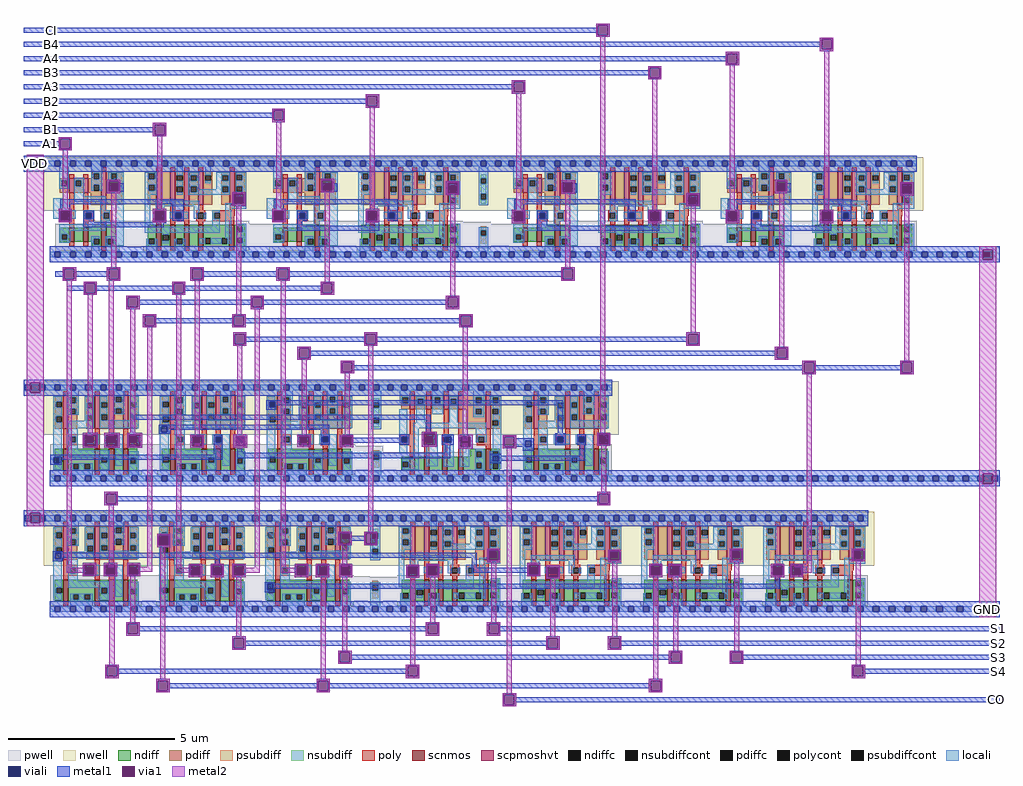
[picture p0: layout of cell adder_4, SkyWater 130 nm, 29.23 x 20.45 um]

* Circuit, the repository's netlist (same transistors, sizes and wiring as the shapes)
* NGSPICE file created from adder_4.ext - technology: sky130A

.subckt sky130_fd_sc_hd__a21o_1 A1 A2 B1 VGND VNB VPB VPWR X
X0 a_81_21# B1 VGND VNB sky130_fd_pr__nfet_01v8 ad=0.0894 pd=0.925 as=0.229 ps=1.57 w=0.65 l=0.15
**devattr s=10270,288 d=3575,185
X1 a_299_297# B1 a_81_21# VPB sky130_fd_pr__pfet_01v8_hvt ad=0.18 pd=1.69 as=0.26 ps=2.52 w=1 l=0.15
**devattr s=10400,504 d=5500,255
X2 VPWR a_81_21# X VPB sky130_fd_pr__pfet_01v8_hvt ad=0.18 pd=1.69 as=0.26 ps=2.52 w=1 l=0.15
**devattr s=10400,504 d=10400,504
X3 VPWR A1 a_299_297# VPB sky130_fd_pr__pfet_01v8_hvt ad=0.18 pd=1.69 as=0.18 ps=1.69 w=1 l=0.15
**devattr s=5500,255 d=5600,256
X4 VGND a_81_21# X VNB sky130_fd_pr__nfet_01v8 ad=0.229 pd=1.57 as=0.169 ps=1.82 w=0.65 l=0.15
**devattr s=6760,364 d=10270,288
X5 VGND A2 a_384_47# VNB sky130_fd_pr__nfet_01v8 ad=0.229 pd=1.57 as=0.091 ps=0.93 w=0.65 l=0.15
**devattr s=3640,186 d=6890,366
X6 a_299_297# A2 VPWR VPB sky130_fd_pr__pfet_01v8_hvt ad=0.18 pd=1.69 as=0.18 ps=1.69 w=1 l=0.15
**devattr s=5600,256 d=10600,506
X7 a_384_47# A1 a_81_21# VNB sky130_fd_pr__nfet_01v8 ad=0.091 pd=0.93 as=0.0894 ps=0.925 w=0.65 l=0.15
**devattr s=3575,185 d=3640,186
.ends

.subckt sky130_fd_sc_hd__and4_1 A B C D VGND VNB VPB VPWR X
X0 a_27_47# C VPWR VPB sky130_fd_pr__pfet_01v8_hvt ad=0.0662 pd=0.735 as=0.139 ps=0.987 w=0.42 l=0.15
**devattr s=3108,158 d=2352,140
X1 a_197_47# B a_109_47# VNB sky130_fd_pr__nfet_01v8 ad=0.0798 pd=0.8 as=0.0609 ps=0.71 w=0.42 l=0.15
**devattr s=2436,142 d=3192,160
X2 X a_27_47# VPWR VPB sky130_fd_pr__pfet_01v8_hvt ad=0.26 pd=2.52 as=0.332 ps=2.35 w=1 l=0.15
**devattr s=12498,336 d=10400,504
X3 a_303_47# C a_197_47# VNB sky130_fd_pr__nfet_01v8 ad=0.0693 pd=0.75 as=0.0798 ps=0.8 w=0.42 l=0.15
**devattr s=3192,160 d=2772,150
X4 a_27_47# A VPWR VPB sky130_fd_pr__pfet_01v8_hvt ad=0.0662 pd=0.735 as=0.139 ps=0.987 w=0.42 l=0.15
**devattr s=4368,272 d=2940,154
X5 VPWR D a_27_47# VPB sky130_fd_pr__pfet_01v8_hvt ad=0.139 pd=0.987 as=0.0662 ps=0.735 w=0.42 l=0.15
**devattr s=2352,140 d=12498,336
X6 VGND D a_303_47# VNB sky130_fd_pr__nfet_01v8 ad=0.154 pd=1.04 as=0.0693 ps=0.75 w=0.42 l=0.15
**devattr s=2772,150 d=7851,266
X7 VPWR B a_27_47# VPB sky130_fd_pr__pfet_01v8_hvt ad=0.139 pd=0.987 as=0.0662 ps=0.735 w=0.42 l=0.15
**devattr s=2940,154 d=3108,158
X8 X a_27_47# VGND VNB sky130_fd_pr__nfet_01v8 ad=0.169 pd=1.82 as=0.238 ps=1.62 w=0.65 l=0.15
**devattr s=7851,266 d=6760,364
X9 a_109_47# A a_27_47# VNB sky130_fd_pr__nfet_01v8 ad=0.0609 pd=0.71 as=0.109 ps=1.36 w=0.42 l=0.15
**devattr s=4368,272 d=2436,142
.ends

.subckt adder_2 CI P1 G1 P2 G2 P3 G3 P4 G4 CO VPB VNB
Xsky130_fd_sc_hd__a21o_1_0 G1 P2 G2 VNB VNB VPB VPB sky130_fd_sc_hd__a21o_1_0/X sky130_fd_sc_hd__a21o_1
Xsky130_fd_sc_hd__a21o_1_1 sky130_fd_sc_hd__a21o_1_0/X P3 G3 VNB VNB VPB VPB sky130_fd_sc_hd__a21o_1_1/X
+ sky130_fd_sc_hd__a21o_1
Xsky130_fd_sc_hd__a21o_1_2 sky130_fd_sc_hd__a21o_1_1/X P4 G4 VNB VNB VPB VPB sky130_fd_sc_hd__a21o_1_2/X
+ sky130_fd_sc_hd__a21o_1
Xsky130_fd_sc_hd__a21o_1_3 sky130_fd_sc_hd__and4_1_0/X CI sky130_fd_sc_hd__a21o_1_2/X
+ VNB VNB VPB VPB CO sky130_fd_sc_hd__a21o_1
Xsky130_fd_sc_hd__and4_1_0 P4 P2 P3 P1 VNB VNB VPB VPB sky130_fd_sc_hd__and4_1_0/X
+ sky130_fd_sc_hd__and4_1
.ends

.subckt sky130_fd_sc_hd__xor2_1 A B VGND VNB VPB VPWR X
X0 X a_35_297# a_285_297# VPB sky130_fd_pr__pfet_01v8_hvt ad=0.3 pd=2.6 as=0.177 ps=1.69 w=1 l=0.15
**devattr s=10400,504 d=12000,520
X1 X B a_285_47# VNB sky130_fd_pr__nfet_01v8 ad=0.25 pd=1.42 as=0.0878 ps=0.92 w=0.65 l=0.15
**devattr s=3510,184 d=10010,284
X2 a_35_297# B VGND VNB sky130_fd_pr__nfet_01v8 ad=0.0878 pd=0.92 as=0.138 ps=1.4 w=0.65 l=0.15
**devattr s=6760,364 d=3510,184
X3 a_117_297# B a_35_297# VPB sky130_fd_pr__pfet_01v8_hvt ad=0.135 pd=1.27 as=0.26 ps=2.52 w=1 l=0.15
**devattr s=10400,504 d=5400,254
X4 VPWR B a_285_297# VPB sky130_fd_pr__pfet_01v8_hvt ad=0.177 pd=1.69 as=0.177 ps=1.69 w=1 l=0.15
**devattr s=5400,254 d=10400,504
X5 VGND A a_35_297# VNB sky130_fd_pr__nfet_01v8 ad=0.138 pd=1.4 as=0.0878 ps=0.92 w=0.65 l=0.15
**devattr s=3510,184 d=3510,184
X6 VGND a_35_297# X VNB sky130_fd_pr__nfet_01v8 ad=0.138 pd=1.4 as=0.25 ps=1.42 w=0.65 l=0.15
**devattr s=10010,284 d=8320,388
X7 a_285_297# A VPWR VPB sky130_fd_pr__pfet_01v8_hvt ad=0.177 pd=1.69 as=0.177 ps=1.69 w=1 l=0.15
**devattr s=5400,254 d=5400,254
X8 VPWR A a_117_297# VPB sky130_fd_pr__pfet_01v8_hvt ad=0.177 pd=1.69 as=0.135 ps=1.27 w=1 l=0.15
**devattr s=5400,254 d=5400,254
X9 a_285_47# A VGND VNB sky130_fd_pr__nfet_01v8 ad=0.0878 pd=0.92 as=0.138 ps=1.4 w=0.65 l=0.15
**devattr s=3510,184 d=3510,184
.ends

.subckt adder_3 CI P1 G1 P2 G2 P3 G3 P4 S1 S2 S3 S4 VPB SUB
Xsky130_fd_sc_hd__xor2_1_3 P4 sky130_fd_sc_hd__xor2_1_3/B SUB SUB VPB VPB S4 sky130_fd_sc_hd__xor2_1
Xsky130_fd_sc_hd__a21o_1_0 CI P1 G1 SUB SUB VPB VPB sky130_fd_sc_hd__xor2_1_1/B sky130_fd_sc_hd__a21o_1
Xsky130_fd_sc_hd__a21o_1_1 sky130_fd_sc_hd__xor2_1_1/B P2 G2 SUB SUB VPB VPB sky130_fd_sc_hd__xor2_1_2/B
+ sky130_fd_sc_hd__a21o_1
Xsky130_fd_sc_hd__a21o_1_2 sky130_fd_sc_hd__xor2_1_2/B P3 G3 SUB SUB VPB VPB sky130_fd_sc_hd__xor2_1_3/B
+ sky130_fd_sc_hd__a21o_1
Xsky130_fd_sc_hd__xor2_1_0 P1 CI SUB SUB VPB VPB S1 sky130_fd_sc_hd__xor2_1
Xsky130_fd_sc_hd__xor2_1_1 P2 sky130_fd_sc_hd__xor2_1_1/B SUB SUB VPB VPB S2 sky130_fd_sc_hd__xor2_1
Xsky130_fd_sc_hd__xor2_1_2 P3 sky130_fd_sc_hd__xor2_1_2/B SUB SUB VPB VPB S3 sky130_fd_sc_hd__xor2_1
.ends

.subckt sky130_fd_sc_hd__and2_1 A B VGND VNB VPB VPWR X
X0 VPWR B a_59_75# VPB sky130_fd_pr__pfet_01v8_hvt ad=0.103 pd=0.954 as=0.0567 ps=0.69 w=0.42 l=0.15
**devattr s=2268,138 d=6662,278
X1 X a_59_75# VPWR VPB sky130_fd_pr__pfet_01v8_hvt ad=0.475 pd=2.95 as=0.245 ps=2.27 w=1 l=0.15
**devattr s=6662,278 d=19000,590
X2 VGND B a_145_75# VNB sky130_fd_pr__nfet_01v8 ad=0.0878 pd=0.816 as=0.0567 ps=0.69 w=0.42 l=0.15
**devattr s=2268,138 d=4472,208
X3 a_59_75# A VPWR VPB sky130_fd_pr__pfet_01v8_hvt ad=0.0567 pd=0.69 as=0.103 ps=0.954 w=0.42 l=0.15
**devattr s=4704,280 d=2268,138
X4 X a_59_75# VGND VNB sky130_fd_pr__nfet_01v8 ad=0.182 pd=1.86 as=0.136 ps=1.26 w=0.65 l=0.15
**devattr s=4472,208 d=7280,372
X5 a_145_75# A a_59_75# VNB sky130_fd_pr__nfet_01v8 ad=0.0567 pd=0.69 as=0.118 ps=1.4 w=0.42 l=0.15
**devattr s=4704,280 d=2268,138
.ends

.subckt adder_1 A1 B1 A2 B2 A3 B3 A4 B4 G1 P1 G2 P2 G3 P3 G4 P4 VDD SUB
Xsky130_fd_sc_hd__xor2_1_3 A4 B4 SUB SUB VDD VDD P4 sky130_fd_sc_hd__xor2_1
Xsky130_fd_sc_hd__and2_1_0 A1 B1 SUB SUB VDD VDD G1 sky130_fd_sc_hd__and2_1
Xsky130_fd_sc_hd__and2_1_1 A2 B2 SUB SUB VDD VDD G2 sky130_fd_sc_hd__and2_1
Xsky130_fd_sc_hd__and2_1_2 A3 B3 SUB SUB VDD VDD G3 sky130_fd_sc_hd__and2_1
Xsky130_fd_sc_hd__and2_1_3 A4 B4 SUB SUB VDD VDD G4 sky130_fd_sc_hd__and2_1
Xsky130_fd_sc_hd__xor2_1_0 A1 B1 SUB SUB VDD VDD P1 sky130_fd_sc_hd__xor2_1
Xsky130_fd_sc_hd__xor2_1_1 A2 B2 SUB SUB VDD VDD P2 sky130_fd_sc_hd__xor2_1
Xsky130_fd_sc_hd__xor2_1_2 A3 B3 SUB SUB VDD VDD P3 sky130_fd_sc_hd__xor2_1
.ends

Xadder_2_0 CI adder_3_0/P1 adder_3_0/G1 adder_3_0/P2 adder_3_0/G2 adder_3_0/P3 adder_3_0/G3
+ adder_3_0/P4 adder_2_0/G4 CO VDD GND adder_2
Xadder_3_0 CI adder_3_0/P1 adder_3_0/G1 adder_3_0/P2 adder_3_0/G2 adder_3_0/P3 adder_3_0/G3
+ adder_3_0/P4 S1 S2 S3 S4 VDD GND adder_3
Xadder_1_0 A1 B1 A2 B2 A3 B3 A4 B4 adder_3_0/G1 adder_3_0/P1 adder_3_0/G2 adder_3_0/P2
+ adder_3_0/G3 adder_3_0/P3 adder_2_0/G4 adder_3_0/P4 VDD GND adder_1
.end

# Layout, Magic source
magic
tech sky130A
magscale 1 2
<< locali >>
rect -140 599 -130 633
rect -95 599 -41 633
rect -5 599 21 633
rect 5202 55 5240 89
rect 5275 55 5330 89
rect 5365 55 5420 89
rect 5455 55 5510 89
rect 5545 55 5610 89
rect 5645 55 5685 89
rect -140 -742 -130 -708
rect -95 -742 -45 -708
rect -10 -742 22 -708
rect 3383 -1286 3415 -1252
rect 3450 -1286 3505 -1252
rect 3540 -1286 3595 -1252
rect 3630 -1286 3685 -1252
rect 3720 -1286 3775 -1252
rect 3810 -1286 3865 -1252
rect 3900 -1286 3955 -1252
rect 3990 -1286 4045 -1252
rect 4080 -1286 4135 -1252
rect 4170 -1286 4225 -1252
rect 4260 -1286 4315 -1252
rect 4350 -1286 4405 -1252
rect 4440 -1286 4495 -1252
rect 4530 -1286 4585 -1252
rect 4620 -1286 4675 -1252
rect 4710 -1286 4765 -1252
rect 4800 -1286 4855 -1252
rect 4890 -1286 4945 -1252
rect 4980 -1286 5035 -1252
rect 5070 -1286 5125 -1252
rect 5160 -1286 5215 -1252
rect 5250 -1286 5305 -1252
rect 5340 -1286 5395 -1252
rect 5430 -1286 5485 -1252
rect 5520 -1286 5575 -1252
rect 5610 -1286 5660 -1252
rect -140 -1525 -130 -1491
rect -95 -1525 -45 -1491
rect -10 -1525 22 -1491
rect 4908 -2069 4947 -2035
rect 4985 -2069 5042 -2035
rect 5080 -2069 5137 -2035
rect 5175 -2069 5232 -2035
rect 5270 -2069 5327 -2035
rect 5365 -2069 5450 -2035
rect 5488 -2069 5575 -2035
rect 5610 -2069 5660 -2035
<< viali >>
rect -130 599 -95 633
rect -41 599 -5 633
rect 5240 55 5275 89
rect 5330 55 5365 89
rect 5420 55 5455 89
rect 5510 55 5545 89
rect 5610 55 5645 89
rect -130 -742 -95 -708
rect -45 -742 -10 -708
rect 3415 -1286 3450 -1252
rect 3505 -1286 3540 -1252
rect 3595 -1286 3630 -1252
rect 3685 -1286 3720 -1252
rect 3775 -1286 3810 -1252
rect 3865 -1286 3900 -1252
rect 3955 -1286 3990 -1252
rect 4045 -1286 4080 -1252
rect 4135 -1286 4170 -1252
rect 4225 -1286 4260 -1252
rect 4315 -1286 4350 -1252
rect 4405 -1286 4440 -1252
rect 4495 -1286 4530 -1252
rect 4585 -1286 4620 -1252
rect 4675 -1286 4710 -1252
rect 4765 -1286 4800 -1252
rect 4855 -1286 4890 -1252
rect 4945 -1286 4980 -1252
rect 5035 -1286 5070 -1252
rect 5125 -1286 5160 -1252
rect 5215 -1286 5250 -1252
rect 5305 -1286 5340 -1252
rect 5395 -1286 5430 -1252
rect 5485 -1286 5520 -1252
rect 5575 -1286 5610 -1252
rect 5660 -1286 5695 -1252
rect -130 -1525 -95 -1491
rect -45 -1525 -10 -1491
rect 4947 -2069 4985 -2035
rect 5042 -2069 5080 -2035
rect 5137 -2069 5175 -2035
rect 5232 -2069 5270 -2035
rect 5327 -2069 5365 -2035
rect 5450 -2069 5488 -2035
rect 5575 -2069 5610 -2035
rect 5660 -2069 5695 -2035
<< metal1 >>
rect 3290 1445 3370 1455
rect 3290 1430 3300 1445
rect -140 1400 3300 1430
rect 3290 1385 3300 1400
rect 3360 1385 3370 1445
rect 3290 1375 3370 1385
rect 4630 1360 4710 1370
rect 4630 1345 4640 1360
rect -140 1315 4640 1345
rect 4630 1300 4640 1315
rect 4700 1300 4710 1360
rect 4630 1290 4710 1300
rect 4065 1275 4145 1285
rect 4065 1260 4075 1275
rect -140 1230 4075 1260
rect 4065 1215 4075 1230
rect 4135 1215 4145 1275
rect 4065 1205 4145 1215
rect 3600 1190 3680 1200
rect 3600 1175 3610 1190
rect -140 1145 3610 1175
rect 3600 1130 3610 1145
rect 3670 1130 3680 1190
rect 3600 1120 3680 1130
rect 2785 1105 2865 1115
rect 2785 1090 2795 1105
rect -140 1060 2795 1090
rect 2785 1045 2795 1060
rect 2855 1045 2865 1105
rect 2785 1035 2865 1045
rect 1910 1020 1990 1030
rect 1910 1005 1920 1020
rect -140 975 1920 1005
rect 1910 960 1920 975
rect 1980 960 1990 1020
rect 1910 950 1990 960
rect 1350 935 1425 945
rect 1350 920 1360 935
rect -140 890 1360 920
rect 1350 875 1360 890
rect 1415 875 1425 935
rect 1350 865 1425 875
rect 635 850 715 860
rect 635 835 645 850
rect -140 805 645 835
rect 635 790 645 805
rect 705 790 715 850
rect 635 780 715 790
rect 70 765 150 775
rect 70 750 80 765
rect -140 720 80 750
rect 70 705 80 720
rect 140 705 150 765
rect 70 695 150 705
rect -140 650 23 664
rect -140 633 -100 650
rect -40 633 23 650
rect -140 599 -130 633
rect -5 599 23 633
rect -140 590 -100 599
rect -40 590 23 599
rect -140 568 23 590
rect 360 510 440 520
rect 360 450 370 510
rect 430 450 440 510
rect 360 440 440 450
rect 1640 515 1720 525
rect 1640 455 1650 515
rect 1710 455 1720 515
rect 1640 445 1720 455
rect 2390 500 2470 510
rect 1110 435 1190 445
rect 1110 375 1120 435
rect 1180 375 1190 435
rect 2390 440 2400 500
rect 2460 440 2470 500
rect 2390 430 2470 440
rect 3080 505 3160 515
rect 3080 445 3090 505
rect 3150 445 3160 505
rect 3080 435 3160 445
rect 4360 510 4435 520
rect 4360 450 4370 510
rect 4425 450 4435 510
rect 4360 440 4435 450
rect 5110 495 5190 505
rect 3830 430 3910 440
rect 1110 365 1190 375
rect 3830 370 3840 430
rect 3900 370 3910 430
rect 5110 435 5120 495
rect 5180 435 5190 495
rect 5110 425 5190 435
rect 3830 360 3910 370
rect 70 335 150 345
rect 70 275 80 335
rect 140 275 150 335
rect 70 265 150 275
rect 635 335 715 345
rect 635 275 645 335
rect 705 275 715 335
rect 635 260 715 275
rect 1350 335 1430 345
rect 1350 275 1360 335
rect 1420 275 1430 335
rect 1350 265 1430 275
rect 1910 335 1990 345
rect 1910 275 1920 335
rect 1980 275 1990 335
rect 1910 265 1990 275
rect 2785 330 2865 340
rect 2785 270 2795 330
rect 2855 270 2865 330
rect 1910 230 1920 265
rect 2785 260 2865 270
rect 3600 330 3680 340
rect 3600 270 3610 330
rect 3670 270 3680 330
rect 3600 260 3680 270
rect 4065 330 4145 340
rect 4065 270 4075 330
rect 4135 270 4145 330
rect 4065 260 4145 270
rect 4630 330 4710 340
rect 4630 270 4640 330
rect 4700 270 4710 330
rect 4630 260 4710 270
rect 3600 225 3615 260
rect 4630 225 4645 260
rect 5205 100 5705 120
rect 5205 89 5605 100
rect 5205 55 5240 89
rect 5275 55 5330 89
rect 5365 55 5420 89
rect 5455 55 5510 89
rect 5545 55 5605 89
rect 5205 40 5605 55
rect 5665 40 5705 100
rect 5205 25 5705 40
rect 95 -15 175 -5
rect 95 -30 105 -15
rect 50 -60 105 -30
rect 95 -75 105 -60
rect 165 -30 175 -15
rect 360 -15 440 -5
rect 360 -30 370 -15
rect 165 -60 370 -30
rect 165 -75 175 -60
rect 95 -85 175 -75
rect 360 -75 370 -60
rect 430 -75 440 -15
rect 360 -85 440 -75
rect 860 -15 940 -5
rect 860 -75 870 -15
rect 930 -30 940 -15
rect 1375 -15 1455 -5
rect 1375 -30 1385 -15
rect 930 -60 1385 -30
rect 930 -75 940 -60
rect 860 -85 940 -75
rect 1375 -75 1385 -60
rect 1445 -30 1455 -15
rect 3080 -15 3160 -5
rect 3080 -30 3090 -15
rect 1445 -60 3090 -30
rect 1445 -75 1455 -60
rect 1375 -85 1455 -75
rect 3080 -75 3090 -60
rect 3150 -75 3160 -15
rect 3080 -85 3160 -75
rect 220 -100 300 -90
rect 220 -115 230 -100
rect 120 -145 230 -115
rect 220 -160 230 -145
rect 290 -115 300 -100
rect 750 -100 830 -90
rect 750 -115 760 -100
rect 290 -145 760 -115
rect 290 -160 300 -145
rect 220 -170 300 -160
rect 750 -160 760 -145
rect 820 -115 830 -100
rect 1640 -100 1720 -90
rect 1640 -115 1650 -100
rect 820 -145 1650 -115
rect 820 -160 830 -145
rect 750 -170 830 -160
rect 1640 -160 1650 -145
rect 1710 -160 1720 -100
rect 1640 -170 1720 -160
rect 475 -185 555 -175
rect 475 -245 485 -185
rect 545 -200 555 -185
rect 1220 -185 1300 -175
rect 1220 -200 1230 -185
rect 545 -230 1230 -200
rect 545 -245 555 -230
rect 475 -255 555 -245
rect 1220 -245 1230 -230
rect 1290 -200 1300 -185
rect 2390 -185 2470 -175
rect 2390 -200 2400 -185
rect 1290 -230 2400 -200
rect 1290 -245 1300 -230
rect 1220 -255 1300 -245
rect 2390 -245 2400 -230
rect 2460 -245 2470 -185
rect 2390 -255 2470 -245
rect 575 -295 655 -285
rect 575 -355 585 -295
rect 645 -310 655 -295
rect 1110 -295 1190 -285
rect 1110 -310 1120 -295
rect 645 -340 1120 -310
rect 645 -355 655 -340
rect 575 -365 655 -355
rect 1110 -355 1120 -340
rect 1180 -310 1190 -295
rect 2470 -295 2550 -285
rect 2470 -310 2480 -295
rect 1180 -340 2480 -310
rect 1180 -355 1190 -340
rect 1110 -365 1190 -355
rect 2470 -355 2480 -340
rect 2540 -355 2550 -295
rect 2470 -365 2550 -355
rect 1115 -405 1195 -395
rect 1115 -465 1125 -405
rect 1185 -420 1195 -405
rect 1900 -405 1980 -395
rect 1900 -420 1910 -405
rect 1185 -450 1910 -420
rect 1185 -465 1195 -450
rect 1115 -475 1195 -465
rect 1900 -465 1910 -450
rect 1970 -420 1980 -405
rect 3830 -405 3910 -395
rect 3830 -420 3840 -405
rect 1970 -450 3840 -420
rect 1970 -465 1980 -450
rect 1900 -475 1980 -465
rect 3830 -465 3840 -450
rect 3900 -465 3910 -405
rect 3830 -475 3910 -465
rect 1500 -490 1580 -480
rect 1500 -550 1510 -490
rect 1570 -505 1580 -490
rect 4360 -490 4440 -480
rect 4360 -505 4370 -490
rect 1570 -535 4370 -505
rect 1570 -550 1580 -535
rect 1500 -560 1580 -550
rect 4360 -550 4370 -535
rect 4430 -550 4440 -490
rect 4360 -560 4440 -550
rect 1760 -575 1840 -565
rect 1760 -630 1770 -575
rect 1830 -590 1840 -575
rect 4525 -575 4605 -565
rect 4525 -590 4535 -575
rect 1830 -620 4535 -590
rect 1830 -630 1840 -620
rect 1760 -640 1840 -630
rect 4525 -635 4535 -620
rect 4595 -590 4605 -575
rect 5110 -575 5190 -565
rect 5110 -590 5120 -575
rect 4595 -620 5120 -590
rect 4595 -635 4605 -620
rect 4525 -645 4605 -635
rect 5110 -635 5120 -620
rect 5180 -635 5190 -575
rect 5110 -645 5190 -635
rect -140 -695 22 -678
rect -140 -708 -100 -695
rect -40 -708 22 -695
rect -140 -742 -130 -708
rect -10 -742 22 -708
rect -140 -755 -100 -742
rect -40 -755 22 -742
rect -140 -773 22 -755
rect 3295 -1005 3375 -995
rect 1115 -1080 1195 -1005
rect 1115 -1085 1120 -1080
rect 1140 -1085 1195 -1080
rect 2730 -1020 2810 -1010
rect 2730 -1080 2740 -1020
rect 2800 -1029 2810 -1020
rect 2800 -1050 2852 -1029
rect 2800 -1080 2860 -1050
rect 3295 -1065 3305 -1005
rect 3365 -1065 3375 -1005
rect 3295 -1075 3375 -1065
rect 2730 -1090 2810 -1080
rect 3380 -1240 5705 -1221
rect 3380 -1252 5605 -1240
rect 5665 -1252 5705 -1240
rect 3380 -1286 3415 -1252
rect 3450 -1286 3505 -1252
rect 3540 -1286 3595 -1252
rect 3630 -1286 3685 -1252
rect 3720 -1286 3775 -1252
rect 3810 -1286 3865 -1252
rect 3900 -1286 3955 -1252
rect 3990 -1286 4045 -1252
rect 4080 -1286 4135 -1252
rect 4170 -1286 4225 -1252
rect 4260 -1286 4315 -1252
rect 4350 -1286 4405 -1252
rect 4440 -1286 4495 -1252
rect 4530 -1286 4585 -1252
rect 4620 -1286 4675 -1252
rect 4710 -1286 4765 -1252
rect 4800 -1286 4855 -1252
rect 4890 -1286 4945 -1252
rect 4980 -1286 5035 -1252
rect 5070 -1286 5125 -1252
rect 5160 -1286 5215 -1252
rect 5250 -1286 5305 -1252
rect 5340 -1286 5395 -1252
rect 5430 -1286 5485 -1252
rect 5520 -1286 5575 -1252
rect 5695 -1286 5705 -1252
rect 3380 -1300 5605 -1286
rect 5665 -1300 5705 -1286
rect 3380 -1317 5705 -1300
rect 345 -1360 425 -1350
rect 345 -1420 355 -1360
rect 415 -1375 425 -1360
rect 3295 -1360 3375 -1350
rect 3295 -1375 3305 -1360
rect 415 -1405 3305 -1375
rect 415 -1420 425 -1405
rect 345 -1430 425 -1420
rect 3295 -1420 3305 -1405
rect 3365 -1420 3375 -1360
rect 3295 -1430 3375 -1420
rect -140 -1475 29 -1460
rect -140 -1491 -100 -1475
rect -40 -1491 29 -1475
rect -140 -1525 -130 -1491
rect -10 -1525 29 -1491
rect -140 -1535 -100 -1525
rect -40 -1535 29 -1525
rect -140 -1556 29 -1535
rect 1745 -1599 1825 -1589
rect 1745 -1659 1755 -1599
rect 1815 -1614 1825 -1599
rect 1900 -1599 1980 -1589
rect 1900 -1614 1910 -1599
rect 1815 -1644 1910 -1614
rect 1815 -1659 1825 -1644
rect 1745 -1669 1825 -1659
rect 1900 -1659 1910 -1644
rect 1970 -1659 1980 -1599
rect 1900 -1669 1980 -1659
rect 4915 -2025 5705 -2004
rect 4915 -2035 5605 -2025
rect 5665 -2035 5705 -2025
rect 4915 -2069 4947 -2035
rect 4985 -2069 5042 -2035
rect 5080 -2069 5137 -2035
rect 5175 -2069 5232 -2035
rect 5270 -2069 5327 -2035
rect 5365 -2069 5450 -2035
rect 5488 -2069 5575 -2035
rect 5695 -2069 5705 -2035
rect 4915 -2085 5605 -2069
rect 5665 -2085 5705 -2069
rect 4915 -2100 5705 -2085
rect 2635 -2140 2715 -2130
rect 2635 -2200 2645 -2140
rect 2705 -2155 2715 -2140
rect 2705 -2185 5705 -2155
rect 2705 -2200 2715 -2185
rect 2635 -2210 2715 -2200
rect 3360 -2225 3440 -2215
rect 3360 -2285 3370 -2225
rect 3430 -2240 3440 -2225
rect 3430 -2270 5705 -2240
rect 3430 -2285 3440 -2270
rect 3360 -2295 3440 -2285
rect 4090 -2310 4170 -2300
rect 4090 -2370 4100 -2310
rect 4160 -2325 4170 -2310
rect 4160 -2355 5705 -2325
rect 4160 -2370 4170 -2355
rect 4090 -2380 4170 -2370
rect 4820 -2395 4900 -2385
rect 4820 -2455 4830 -2395
rect 4890 -2410 4900 -2395
rect 4890 -2440 5705 -2410
rect 4890 -2455 4900 -2440
rect 4820 -2465 4900 -2455
rect 2730 -2565 2810 -2555
rect 2730 -2625 2740 -2565
rect 2800 -2580 2810 -2565
rect 2800 -2610 5705 -2580
rect 2800 -2625 2810 -2610
rect 2730 -2635 2810 -2625
<< via1 >>
rect 3300 1385 3360 1445
rect 4640 1300 4700 1360
rect 4075 1215 4135 1275
rect 3610 1130 3670 1190
rect 2795 1045 2855 1105
rect 1920 960 1980 1020
rect 1360 875 1415 935
rect 645 790 705 850
rect 80 705 140 765
rect -100 633 -40 650
rect -100 599 -95 633
rect -95 599 -41 633
rect -41 599 -40 633
rect -100 590 -40 599
rect 370 450 430 510
rect 1650 455 1710 515
rect 1120 375 1180 435
rect 2400 440 2460 500
rect 3090 445 3150 505
rect 4370 450 4425 510
rect 3840 370 3900 430
rect 5120 435 5180 495
rect 80 275 140 335
rect 645 275 705 335
rect 1360 275 1420 335
rect 1920 275 1980 335
rect 2795 270 2855 330
rect 3610 270 3670 330
rect 4075 270 4135 330
rect 4640 270 4700 330
rect 5605 89 5665 100
rect 5605 55 5610 89
rect 5610 55 5645 89
rect 5645 55 5665 89
rect 5605 40 5665 55
rect 105 -75 165 -15
rect 370 -75 430 -15
rect 870 -75 930 -15
rect 1385 -75 1445 -15
rect 3090 -75 3150 -15
rect 230 -160 290 -100
rect 760 -160 820 -100
rect 1650 -160 1710 -100
rect 485 -245 545 -185
rect 1230 -245 1290 -185
rect 2400 -245 2460 -185
rect 585 -355 645 -295
rect 1120 -355 1180 -295
rect 2480 -355 2540 -295
rect 1125 -465 1185 -405
rect 1910 -465 1970 -405
rect 3840 -465 3900 -405
rect 1510 -550 1570 -490
rect 4370 -550 4430 -490
rect 1770 -630 1830 -575
rect 4535 -635 4595 -575
rect 5120 -635 5180 -575
rect -100 -708 -40 -695
rect -100 -742 -95 -708
rect -95 -742 -45 -708
rect -45 -742 -40 -708
rect -100 -755 -40 -742
rect 2740 -1080 2800 -1020
rect 3305 -1065 3365 -1005
rect 5605 -1252 5665 -1240
rect 5605 -1286 5610 -1252
rect 5610 -1286 5660 -1252
rect 5660 -1286 5665 -1252
rect 5605 -1300 5665 -1286
rect 355 -1420 415 -1360
rect 3305 -1420 3365 -1360
rect -100 -1491 -40 -1475
rect -100 -1525 -95 -1491
rect -95 -1525 -45 -1491
rect -45 -1525 -40 -1491
rect -100 -1535 -40 -1525
rect 1755 -1659 1815 -1599
rect 1910 -1659 1970 -1599
rect 5605 -2035 5665 -2025
rect 5605 -2069 5610 -2035
rect 5610 -2069 5660 -2035
rect 5660 -2069 5665 -2035
rect 5605 -2085 5665 -2069
rect 2645 -2200 2705 -2140
rect 3370 -2285 3430 -2225
rect 4100 -2370 4160 -2310
rect 4830 -2455 4890 -2395
rect 2740 -2625 2800 -2565
<< metal2 >>
rect 3290 1445 3370 1455
rect 3290 1385 3300 1445
rect 3360 1385 3370 1445
rect 3290 1375 3370 1385
rect 2785 1105 2865 1115
rect 2785 1045 2795 1105
rect 2855 1045 2865 1105
rect 2785 1035 2865 1045
rect 1910 1020 1990 1030
rect 1910 960 1920 1020
rect 1980 960 1990 1020
rect 1910 950 1990 960
rect 1350 935 1425 945
rect 1350 875 1360 935
rect 1415 875 1425 935
rect 1350 865 1425 875
rect 635 850 715 860
rect 635 790 645 850
rect 705 790 715 850
rect 635 780 715 790
rect 70 765 150 775
rect 70 705 80 765
rect 140 705 150 765
rect 70 695 150 705
rect -120 650 -20 670
rect -120 590 -100 650
rect -40 590 -20 650
rect -120 -695 -20 590
rect 95 345 125 695
rect 360 510 440 520
rect 360 450 370 510
rect 430 450 440 510
rect 360 440 440 450
rect 70 335 150 345
rect 70 275 80 335
rect 140 275 150 335
rect 70 265 150 275
rect 385 -5 415 440
rect 660 345 690 780
rect 1110 435 1190 445
rect 1110 375 1120 435
rect 1180 375 1190 435
rect 1110 365 1190 375
rect 635 335 715 345
rect 635 275 645 335
rect 705 275 715 335
rect 635 265 715 275
rect 95 -15 175 -5
rect 95 -75 105 -15
rect 165 -75 175 -15
rect 95 -85 175 -75
rect 360 -15 440 -5
rect 360 -75 370 -15
rect 430 -75 440 -15
rect 360 -85 440 -75
rect 860 -15 940 -5
rect 860 -75 870 -15
rect 930 -75 940 -15
rect 860 -85 940 -75
rect -120 -755 -100 -695
rect -40 -755 -20 -695
rect -120 -1475 -20 -755
rect -120 -1535 -100 -1475
rect -40 -1535 -20 -1475
rect -120 -1556 -20 -1535
rect 120 -1804 150 -85
rect 220 -100 300 -90
rect 220 -160 230 -100
rect 290 -160 300 -100
rect 220 -170 300 -160
rect 245 -1010 275 -170
rect 370 -1010 400 -85
rect 750 -100 830 -90
rect 750 -160 760 -100
rect 820 -160 830 -100
rect 750 -170 830 -160
rect 475 -185 555 -175
rect 475 -245 485 -185
rect 545 -245 555 -185
rect 475 -255 555 -245
rect 500 -1010 530 -255
rect 575 -295 655 -285
rect 575 -355 585 -295
rect 645 -355 655 -295
rect 575 -365 655 -355
rect 215 -1050 225 -1020
rect 550 -1050 560 -1020
rect 245 -1085 275 -1075
rect 370 -1085 400 -1075
rect 500 -1085 530 -1070
rect 345 -1360 425 -1350
rect 345 -1420 355 -1360
rect 415 -1420 425 -1360
rect 345 -1430 425 -1420
rect 370 -1800 400 -1430
rect 600 -1799 630 -365
rect 120 -1834 225 -1804
rect 560 -1829 630 -1799
rect 775 -1804 805 -170
rect 885 -1015 915 -85
rect 1135 -285 1165 365
rect 1375 345 1405 865
rect 1640 515 1720 525
rect 1640 455 1650 515
rect 1710 455 1720 515
rect 1640 445 1720 455
rect 1350 335 1430 345
rect 1350 275 1360 335
rect 1420 275 1430 335
rect 1350 265 1430 275
rect 1375 -15 1455 -5
rect 1375 -75 1385 -15
rect 1445 -75 1455 -15
rect 1375 -85 1455 -75
rect 1220 -185 1300 -175
rect 1220 -245 1230 -185
rect 1290 -245 1300 -185
rect 1220 -255 1300 -245
rect 1110 -295 1190 -285
rect 1110 -355 1120 -295
rect 1180 -355 1190 -295
rect 1110 -365 1190 -355
rect 1115 -405 1195 -395
rect 1115 -465 1125 -405
rect 1185 -465 1195 -405
rect 1115 -475 1195 -465
rect 1140 -1005 1170 -475
rect 885 -1085 915 -1060
rect 1115 -1085 1195 -1005
rect 1140 -1090 1170 -1085
rect 1245 -1804 1275 -255
rect 775 -1834 860 -1804
rect 1190 -1834 1275 -1804
rect 1400 -1804 1430 -85
rect 1665 -90 1695 445
rect 1935 345 1965 950
rect 2390 500 2470 510
rect 2390 440 2400 500
rect 2460 440 2470 500
rect 2390 430 2470 440
rect 1910 335 1990 345
rect 1910 275 1920 335
rect 1980 275 1990 335
rect 1910 265 1990 275
rect 1640 -100 1720 -90
rect 1640 -160 1650 -100
rect 1710 -160 1720 -100
rect 1640 -170 1720 -160
rect 2415 -175 2445 430
rect 2810 340 2840 1035
rect 3080 505 3160 515
rect 3080 445 3090 505
rect 3150 445 3160 505
rect 3080 435 3160 445
rect 2785 330 2865 340
rect 2785 270 2795 330
rect 2855 270 2865 330
rect 2785 260 2865 270
rect 3105 -5 3135 435
rect 3080 -15 3160 -5
rect 3080 -75 3090 -15
rect 3150 -75 3160 -15
rect 3080 -85 3160 -75
rect 2390 -185 2470 -175
rect 2390 -245 2400 -185
rect 2460 -245 2470 -185
rect 2390 -255 2470 -245
rect 2470 -295 2550 -285
rect 2470 -355 2480 -295
rect 2540 -355 2550 -295
rect 2470 -365 2550 -355
rect 1900 -405 1980 -395
rect 1900 -465 1910 -405
rect 1970 -465 1980 -405
rect 1900 -475 1980 -465
rect 1500 -490 1580 -480
rect 1500 -550 1510 -490
rect 1570 -550 1580 -490
rect 1500 -560 1580 -550
rect 1525 -1015 1555 -560
rect 1760 -575 1840 -565
rect 1760 -630 1770 -575
rect 1830 -630 1840 -575
rect 1760 -640 1840 -630
rect 1785 -1015 1815 -640
rect 1525 -1080 1555 -1060
rect 1785 -1080 1815 -1065
rect 1925 -1589 1955 -475
rect 2490 -1045 2520 -365
rect 3315 -995 3345 1375
rect 4630 1360 4710 1370
rect 4630 1300 4640 1360
rect 4700 1300 4710 1360
rect 4630 1290 4710 1300
rect 4065 1275 4145 1285
rect 4065 1215 4075 1275
rect 4135 1215 4145 1275
rect 4065 1205 4145 1215
rect 3600 1190 3680 1200
rect 3600 1130 3610 1190
rect 3670 1130 3680 1190
rect 3600 1120 3680 1130
rect 3625 340 3655 1120
rect 3830 430 3910 440
rect 3830 370 3840 430
rect 3900 370 3910 430
rect 3830 360 3910 370
rect 3600 330 3680 340
rect 3600 270 3610 330
rect 3670 270 3680 330
rect 3600 260 3680 270
rect 3855 -395 3885 360
rect 4090 340 4120 1205
rect 4360 510 4435 520
rect 4360 450 4370 510
rect 4425 450 4435 510
rect 4360 440 4435 450
rect 4065 330 4145 340
rect 4065 270 4075 330
rect 4135 270 4145 330
rect 4065 260 4145 270
rect 3830 -405 3910 -395
rect 3830 -465 3840 -405
rect 3900 -465 3910 -405
rect 3830 -475 3910 -465
rect 4385 -480 4415 440
rect 4655 340 4685 1290
rect 5110 495 5190 505
rect 5110 435 5120 495
rect 5180 435 5190 495
rect 5110 425 5190 435
rect 4630 330 4710 340
rect 4630 270 4640 330
rect 4700 270 4710 330
rect 4630 260 4710 270
rect 4360 -490 4440 -480
rect 4360 -550 4370 -490
rect 4430 -550 4440 -490
rect 4360 -560 4440 -550
rect 5135 -565 5165 425
rect 5585 100 5685 120
rect 5585 40 5605 100
rect 5665 40 5685 100
rect 4525 -575 4605 -565
rect 4525 -635 4535 -575
rect 4595 -635 4605 -575
rect 4525 -645 4605 -635
rect 5110 -575 5190 -565
rect 5110 -635 5120 -575
rect 5180 -635 5190 -575
rect 5110 -645 5190 -635
rect 3295 -1005 3375 -995
rect 2730 -1020 2810 -1010
rect 2490 -1090 2520 -1060
rect 2730 -1080 2740 -1020
rect 2800 -1080 2810 -1020
rect 3295 -1065 3305 -1005
rect 3365 -1065 3375 -1005
rect 3295 -1075 3375 -1065
rect 2730 -1090 2810 -1080
rect 1745 -1599 1825 -1589
rect 1745 -1659 1755 -1599
rect 1815 -1659 1825 -1599
rect 1745 -1669 1825 -1659
rect 1900 -1599 1980 -1589
rect 1900 -1659 1910 -1599
rect 1970 -1659 1980 -1599
rect 1900 -1669 1980 -1659
rect 1770 -1799 1800 -1669
rect 1400 -1834 1495 -1804
rect 2660 -2130 2690 -1760
rect 2635 -2140 2715 -2130
rect 2635 -2200 2645 -2140
rect 2705 -2200 2715 -2140
rect 2635 -2210 2715 -2200
rect 2755 -2555 2785 -1090
rect 3320 -1350 3350 -1075
rect 3295 -1360 3375 -1350
rect 3295 -1420 3305 -1360
rect 3365 -1420 3375 -1360
rect 3295 -1430 3375 -1420
rect 3385 -2215 3415 -1760
rect 3360 -2225 3440 -2215
rect 3360 -2285 3370 -2225
rect 3430 -2285 3440 -2225
rect 3360 -2295 3440 -2285
rect 4115 -2300 4145 -1755
rect 4550 -1780 4580 -645
rect 5585 -1240 5685 40
rect 5585 -1300 5605 -1240
rect 5665 -1300 5685 -1240
rect 4480 -1800 4510 -1780
rect 4515 -1815 4580 -1780
rect 4520 -1835 4580 -1815
rect 4090 -2310 4170 -2300
rect 4090 -2370 4100 -2310
rect 4160 -2370 4170 -2310
rect 4090 -2380 4170 -2370
rect 4845 -2385 4875 -1755
rect 5585 -2025 5685 -1300
rect 5585 -2085 5605 -2025
rect 5665 -2085 5685 -2025
rect 5585 -2100 5685 -2085
rect 4820 -2395 4900 -2385
rect 4820 -2455 4830 -2395
rect 4890 -2455 4900 -2395
rect 4820 -2465 4900 -2455
rect 2730 -2565 2810 -2555
rect 2730 -2625 2740 -2565
rect 2800 -2625 2810 -2565
rect 2730 -2635 2810 -2625
use adder_1  adder_1_0
transform 1 0 60 0 1 74
box -80 -50 5188 590
use adder_2  adder_2_0
transform 1 0 30 0 1 -1277
box -50 -40 3394 600
use adder_3  adder_3_0
transform 1 0 25 0 1 -2055
box -45 -495 4931 595
<< labels >>
flabel metal1 20 735 20 735 1 FreeSans 160 0 0 0 A1
port 1 n
flabel metal1 25 820 25 820 1 FreeSans 160 0 0 0 B1
port 2 n
flabel metal1 25 905 25 905 1 FreeSans 160 0 0 0 A2
port 3 n
flabel metal1 25 990 25 990 1 FreeSans 160 0 0 0 B2
port 4 n
flabel metal1 25 1075 25 1075 1 FreeSans 160 0 0 0 A3
port 5 n
flabel metal1 25 1160 25 1160 1 FreeSans 160 0 0 0 B3
port 6 n
flabel metal1 25 1245 25 1245 1 FreeSans 160 0 0 0 A4
port 7 n
flabel metal1 25 1330 25 1330 1 FreeSans 160 0 0 0 B4
port 8 n
flabel metal1 25 1415 25 1415 1 FreeSans 160 0 0 0 CI
port 9 n
flabel metal1 5700 -2170 5700 -2170 7 FreeSans 160 0 0 0 S1
port 10 w
flabel metal1 5700 -2255 5700 -2255 7 FreeSans 160 0 0 0 S2
port 11 w
flabel metal1 5700 -2340 5700 -2340 7 FreeSans 160 0 0 0 S3
port 12 w
flabel metal1 5700 -2425 5700 -2425 7 FreeSans 160 0 0 0 S4
port 13 w
flabel via1 -75 619 -75 619 1 FreeSans 128 0 0 0 VDD
port 15 n
flabel via1 5635 -2055 5635 -2055 1 FreeSans 128 0 0 0 GND
port 16 n
flabel metal1 5690 -2595 5690 -2595 1 FreeSans 200 0 0 0 CO
port 14 n
<< end >>

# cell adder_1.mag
magic
tech sky130A
magscale 1 2
<< nwell >>
rect 433 259 473 580
rect 1184 259 1204 580
rect 1207 259 1247 579
rect 1724 259 1754 580
rect 3167 259 3191 580
rect 3900 259 3921 580
rect 4446 259 4474 580
<< pwell >>
rect 343 45 523 200
rect 1148 45 1278 183
rect 1619 46 1802 200
rect 2422 45 2522 193
rect 2590 46 2713 183
rect 3061 45 3244 200
rect 3863 46 3994 183
rect 4369 46 4519 201
<< locali >>
rect 412 525 444 559
rect 480 525 513 559
rect 1144 525 1180 559
rect 1215 525 1245 559
rect 1693 525 1724 559
rect 1760 525 1793 559
rect 2428 525 2450 559
rect 2485 525 2512 559
rect 2592 525 2625 559
rect 2660 525 2678 559
rect 3132 525 3163 559
rect 3198 525 3231 559
rect 3862 525 3898 559
rect 3933 525 3962 559
rect 4411 525 4443 559
rect 4478 525 4512 559
rect 340 420 375 454
rect 397 -20 444 15
rect 480 -20 515 15
rect 1147 -19 1174 15
rect 1210 -19 1246 15
rect 1686 -19 1725 15
rect 1760 -19 1795 15
rect 2429 -19 2450 15
rect 2485 -19 2516 15
rect 2592 -19 2620 15
rect 2655 -19 2679 15
rect 3124 -19 3163 15
rect 3198 -19 3229 15
rect 3864 -19 3898 15
rect 3933 -19 3960 15
rect 4405 -19 4443 15
rect 4478 -19 4513 15
<< viali >>
rect 79 525 113 559
rect 444 525 480 559
rect 1180 525 1215 559
rect 1724 525 1760 559
rect 2450 525 2485 559
rect 2625 525 2660 559
rect 3163 525 3198 559
rect 3898 525 3933 559
rect 4443 525 4478 559
rect 325 381 359 415
rect 1605 381 1639 415
rect 2355 373 2389 407
rect 3043 381 3077 415
rect 4323 381 4357 415
rect 5073 373 5107 407
rect 1075 305 1109 339
rect 3793 305 3827 339
rect 32 213 66 247
rect 173 213 207 247
rect 593 213 627 247
rect 710 213 744 247
rect 1312 213 1346 247
rect 1453 213 1487 247
rect 1873 213 1907 247
rect 1990 213 2024 247
rect 2750 213 2784 247
rect 2891 213 2925 247
rect 3428 213 3462 247
rect 3563 213 3597 247
rect 4030 213 4064 247
rect 4171 213 4205 247
rect 4591 213 4625 247
rect 4708 213 4742 247
rect 444 -20 480 15
rect 1174 -19 1210 15
rect 1725 -19 1760 15
rect 2450 -19 2485 15
rect 2620 -19 2655 15
rect 3163 -19 3198 15
rect 3898 -19 3933 15
rect 4443 -19 4478 15
<< metal1 >>
rect 413 559 511 590
rect 413 525 444 559
rect 480 525 511 559
rect 413 494 511 525
rect 1145 559 1242 590
rect 1145 525 1180 559
rect 1215 525 1242 559
rect 1145 494 1242 525
rect 1693 559 1791 590
rect 1693 525 1724 559
rect 1760 525 1791 559
rect 1693 494 1791 525
rect 2425 559 2513 590
rect 2425 525 2450 559
rect 2485 525 2513 559
rect 2425 494 2513 525
rect 2595 559 2684 590
rect 2595 525 2625 559
rect 2660 525 2684 559
rect 2595 494 2684 525
rect 3130 559 3231 590
rect 3130 525 3163 559
rect 3198 525 3231 559
rect 3130 494 3231 525
rect 3864 559 3962 590
rect 3864 525 3898 559
rect 3933 525 3962 559
rect 3864 494 3962 525
rect 4411 559 4512 590
rect 4411 525 4443 559
rect 4478 525 4512 559
rect 4411 494 4512 525
rect 310 415 400 425
rect 310 381 325 415
rect 359 381 400 415
rect 310 375 400 381
rect 1590 415 1680 425
rect 1590 381 1605 415
rect 1639 381 1680 415
rect 1590 375 1680 381
rect 2340 407 2410 425
rect 2340 373 2355 407
rect 2389 373 2410 407
rect 1066 339 1130 370
rect 2340 360 2410 373
rect 3023 415 3113 425
rect 3023 381 3043 415
rect 3077 381 3113 415
rect 3023 369 3113 381
rect 4308 415 4398 425
rect 4308 381 4323 415
rect 4357 381 4398 415
rect 4308 370 4398 381
rect 5058 407 5128 425
rect 5058 373 5073 407
rect 5107 373 5128 407
rect 5058 360 5128 373
rect 20 301 760 330
rect 20 300 634 301
rect 20 247 80 300
rect 20 213 32 247
rect 66 213 80 247
rect 20 200 80 213
rect 160 247 220 260
rect 160 213 173 247
rect 207 213 220 247
rect 160 210 220 213
rect 157 190 220 210
rect 579 247 640 260
rect 579 213 593 247
rect 627 213 640 247
rect 579 190 640 213
rect 690 247 760 301
rect 1066 305 1075 339
rect 1109 305 1130 339
rect 3778 339 3848 355
rect 1066 286 1130 305
rect 1300 300 2040 330
rect 690 213 710 247
rect 744 213 760 247
rect 690 200 760 213
rect 1300 247 1360 300
rect 1300 213 1312 247
rect 1346 213 1360 247
rect 1300 200 1360 213
rect 1440 247 1500 260
rect 1440 213 1453 247
rect 1487 213 1500 247
rect 1440 200 1500 213
rect 1860 247 1930 260
rect 1860 213 1873 247
rect 1907 213 1930 247
rect 157 160 640 190
rect 1440 170 1470 200
rect 1860 170 1930 213
rect 1980 247 2040 300
rect 1980 213 1990 247
rect 2024 213 2040 247
rect 1980 200 2040 213
rect 2738 300 3468 330
rect 2738 247 2798 300
rect 2738 213 2750 247
rect 2784 213 2798 247
rect 2738 200 2798 213
rect 2878 247 2938 260
rect 2878 213 2891 247
rect 2925 213 2938 247
rect 1440 141 1930 170
rect 1500 140 1930 141
rect 2878 170 2938 213
rect 3418 247 3468 300
rect 3778 305 3793 339
rect 3827 305 3848 339
rect 3778 290 3848 305
rect 4018 300 4758 330
rect 3418 213 3428 247
rect 3462 213 3468 247
rect 3418 200 3468 213
rect 3548 247 3608 260
rect 3548 213 3563 247
rect 3597 213 3608 247
rect 3548 170 3608 213
rect 4018 247 4078 300
rect 4018 213 4030 247
rect 4064 213 4078 247
rect 4018 199 4078 213
rect 4158 247 4218 260
rect 4588 259 4638 260
rect 4158 213 4171 247
rect 4205 213 4218 247
rect 2878 140 3608 170
rect 4158 170 4218 213
rect 4578 247 4638 259
rect 4578 213 4591 247
rect 4625 213 4638 247
rect 4578 170 4638 213
rect 4698 247 4758 300
rect 4698 213 4708 247
rect 4742 213 4758 247
rect 4698 200 4758 213
rect 4158 140 4638 170
rect 405 15 515 45
rect 405 -20 444 15
rect 480 -20 515 15
rect 405 -50 515 -20
rect 1144 15 1246 46
rect 1690 15 1796 46
rect 1144 -19 1174 15
rect 1210 -19 1246 15
rect 1686 -19 1725 15
rect 1760 -19 1796 15
rect 1144 -50 1246 -19
rect 1690 -50 1796 -19
rect 2423 15 2513 46
rect 2423 -19 2450 15
rect 2485 -19 2513 15
rect 2423 -50 2513 -19
rect 2599 15 2684 46
rect 2599 -19 2620 15
rect 2655 -19 2684 15
rect 2599 -50 2684 -19
rect 3131 15 3231 46
rect 3131 -19 3163 15
rect 3198 -19 3231 15
rect 3131 -50 3231 -19
rect 3864 15 3962 46
rect 3864 -19 3898 15
rect 3933 -19 3962 15
rect 3864 -50 3962 -19
rect 4410 15 4513 46
rect 4410 -19 4443 15
rect 4478 -19 4513 15
rect 4410 -50 4513 -19
use sky130_fd_sc_hd__and2_1  sky130_fd_sc_hd__and2_1_0
transform 1 0 -42 0 1 -2
box -38 -48 498 592
use sky130_fd_sc_hd__and2_1  sky130_fd_sc_hd__and2_1_1
transform 1 0 1238 0 1 -2
box -38 -48 498 592
use sky130_fd_sc_hd__and2_1  sky130_fd_sc_hd__and2_1_2
transform 1 0 2676 0 1 -2
box -38 -48 498 592
use sky130_fd_sc_hd__and2_1  sky130_fd_sc_hd__and2_1_3
transform 1 0 3956 0 1 -2
box -38 -48 498 592
use sky130_fd_sc_hd__tapvpwrvgnd_1  sky130_fd_sc_hd__tapvpwrvgnd_1_0
transform 1 0 2508 0 1 -2
box -38 -48 130 592
use sky130_fd_sc_hd__xor2_1  sky130_fd_sc_hd__xor2_1_0
transform 1 0 508 0 1 -2
box -38 -48 682 592
use sky130_fd_sc_hd__xor2_1  sky130_fd_sc_hd__xor2_1_1
transform 1 0 1788 0 1 -2
box -38 -48 682 592
use sky130_fd_sc_hd__xor2_1  sky130_fd_sc_hd__xor2_1_2
transform 1 0 3226 0 1 -2
box -38 -48 682 592
use sky130_fd_sc_hd__xor2_1  sky130_fd_sc_hd__xor2_1_3
transform 1 0 4506 0 1 -2
box -38 -48 682 592
<< labels >>
flabel metal1 1300 240 1300 240 1 FreeSans 320 0 0 0 A2
port 3 n
flabel viali 610 240 610 240 1 FreeSans 192 0 0 0 B1
port 2 n
flabel viali 1890 242 1890 242 1 FreeSans 192 0 0 0 B2
port 4 n
flabel viali 1090 330 1090 330 1 FreeSans 192 0 0 0 P1
port 10 n
flabel viali 340 405 340 405 1 FreeSans 128 0 0 0 G1
port 9 n
flabel viali 1620 405 1620 405 1 FreeSans 160 0 0 0 G2
port 11 n
flabel viali 2370 400 2370 400 1 FreeSans 128 0 0 0 P2
port 12 n
flabel viali 2768 240 2768 240 1 FreeSans 256 0 0 0 A3
port 5 n
flabel viali 3578 240 3578 240 1 FreeSans 192 0 0 0 B3
port 6 n
flabel viali 4046 240 4046 240 1 FreeSans 192 0 0 0 A4
port 7 n
flabel viali 4610 238 4610 238 1 FreeSans 192 0 0 0 B4
port 8 n
flabel viali 5088 400 5088 400 1 FreeSans 128 0 0 0 P4
port 16 n
flabel viali 3808 326 3808 326 1 FreeSans 256 0 0 0 P3
port 14 n
flabel viali 3058 400 3058 400 1 FreeSans 160 0 0 0 G3
port 13 n
flabel viali 4336 400 4336 400 1 FreeSans 160 0 0 0 G4
port 15 n
flabel metal1 s -30 570 -30 570 1 FreeSans 128 0 0 0 VDD
port 17 n
flabel metal1 s -35 25 -35 25 1 FreeSans 96 0 0 0 GND
port 18 n
flabel space 2548 447 2548 447 1 FreeSans 128 0 0 0 VPB
port 19 n
flabel space 2550 135 2550 135 1 FreeSans 128 0 0 0 VNB
port 20 n
flabel viali 45 230 45 230 1 FreeSans 160 0 0 0 A1
port 1 n
<< end >>

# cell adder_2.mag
magic
tech sky130A
magscale 1 2
<< nwell >>
rect -50 269 -47 590
rect 566 269 597 590
rect 1213 269 1238 590
rect 2726 269 2780 590
<< pwell >>
rect 523 56 634 211
rect 1173 56 1273 211
rect 1809 56 1902 203
rect 1982 56 2067 165
rect 2703 56 2810 211
<< locali >>
rect 537 535 564 569
rect 600 535 634 569
rect 1172 535 1210 569
rect 1245 535 1271 569
rect 1812 535 1840 569
rect 1875 535 1897 569
rect 1986 535 2010 569
rect 2045 535 2064 569
rect 2700 535 2736 569
rect 2771 535 2810 569
rect 1300 467 1335 470
rect 1300 435 1305 467
rect 1748 250 1782 257
rect 1748 223 1750 250
rect -10 135 50 150
rect -10 100 10 135
rect 44 100 50 135
rect 2630 145 2685 150
rect 2630 110 2640 145
rect 2675 110 2685 145
rect 2630 100 2685 110
rect -10 90 50 100
rect 527 -9 565 25
rect 600 -9 634 25
rect 1173 -9 1210 25
rect 1245 -9 1272 25
rect 1813 -9 1840 25
rect 1875 -9 1897 25
rect 1982 -9 2010 25
rect 2045 -9 2067 25
rect 2698 -9 2740 25
rect 2776 -9 2809 25
<< viali >>
rect 564 535 600 569
rect 1210 535 1245 569
rect 1840 535 1875 569
rect 2010 535 2045 569
rect 2736 535 2771 569
rect 1305 433 1339 467
rect 655 285 690 320
rect 212 223 246 257
rect 340 223 374 257
rect 468 223 502 257
rect 852 223 886 257
rect 980 223 1014 257
rect 1108 223 1142 257
rect 1492 223 1526 257
rect 1620 223 1654 257
rect 1750 215 1785 250
rect 2095 223 2129 257
rect 2241 223 2275 257
rect 2356 223 2392 258
rect 2456 223 2491 257
rect 2836 198 2871 233
rect 3027 223 3062 257
rect 3156 223 3190 257
rect 3284 223 3318 257
rect 10 100 44 135
rect 2640 110 2675 145
rect 565 -9 600 25
rect 1210 -9 1245 25
rect 1840 -9 1875 25
rect 2010 -9 2045 25
rect 2740 -9 2776 25
<< metal1 >>
rect 534 569 635 600
rect 534 535 564 569
rect 600 535 635 569
rect 534 504 635 535
rect 1175 569 1273 600
rect 1175 535 1210 569
rect 1245 535 1273 569
rect 1175 504 1273 535
rect 1818 569 1897 600
rect 1818 535 1840 569
rect 1875 535 1897 569
rect 1818 504 1897 535
rect 1987 569 2065 600
rect 1987 535 2010 569
rect 2045 535 2065 569
rect 1987 504 2065 535
rect 2698 569 2811 600
rect 2698 535 2736 569
rect 2771 535 2811 569
rect 2698 504 2811 535
rect 1285 467 3060 475
rect 1285 433 1305 467
rect 1339 445 3060 467
rect 1339 433 1345 445
rect 1285 420 1345 433
rect 470 360 2270 390
rect 470 280 500 360
rect 640 320 1660 330
rect 640 285 655 320
rect 690 300 1660 320
rect 690 285 710 300
rect 185 270 275 280
rect 185 200 195 270
rect 265 200 275 270
rect 185 190 275 200
rect 315 270 405 280
rect 315 200 325 270
rect 395 200 405 270
rect 315 190 405 200
rect 450 270 540 280
rect 640 275 710 285
rect 1610 270 1660 300
rect 2240 288 2270 360
rect 2216 278 2306 288
rect 3030 278 3060 445
rect 450 200 460 270
rect 530 200 540 270
rect 450 190 540 200
rect 830 260 910 270
rect 830 200 840 260
rect 900 200 910 260
rect 830 190 910 200
rect 970 257 1020 270
rect 970 223 980 257
rect 1014 223 1020 257
rect 970 150 1020 223
rect 1090 260 1170 270
rect 1090 200 1100 260
rect 1160 200 1170 260
rect 1090 190 1170 200
rect 1470 260 1550 270
rect 1470 205 1480 260
rect 1540 205 1550 260
rect 1610 257 1665 270
rect 1610 223 1620 257
rect 1654 223 1665 257
rect 1610 210 1665 223
rect 1725 260 1805 270
rect 1470 195 1550 205
rect 1725 205 1735 260
rect 1795 250 1805 260
rect 2081 257 2141 273
rect 2081 250 2095 257
rect 1795 223 2095 250
rect 2129 223 2141 257
rect 1795 220 2141 223
rect 1795 205 1805 220
rect 2081 208 2141 220
rect 2216 208 2226 278
rect 2296 208 2306 278
rect 2336 258 2406 268
rect 2336 223 2356 258
rect 2392 223 2406 258
rect 2336 210 2406 223
rect 2435 258 2520 270
rect 1725 195 1805 205
rect 2216 198 2306 208
rect -10 135 1020 150
rect -10 100 10 135
rect 44 120 1020 135
rect 1110 160 1140 190
rect 2355 160 2385 210
rect 2435 198 2446 258
rect 2506 198 2520 258
rect 3016 257 3076 278
rect 2435 185 2520 198
rect 2821 233 2885 248
rect 2821 198 2836 233
rect 2871 198 2885 233
rect 3016 223 3027 257
rect 3062 223 3076 257
rect 3016 205 3076 223
rect 3146 257 3196 273
rect 3146 223 3156 257
rect 3190 223 3196 257
rect 3146 210 3196 223
rect 3271 257 3336 273
rect 3271 223 3284 257
rect 3318 223 3336 257
rect 2821 173 2885 198
rect 1110 130 2385 160
rect 2625 145 2690 155
rect 3160 145 3190 210
rect 3271 208 3336 223
rect 44 100 59 120
rect 2625 110 2640 145
rect 2675 115 3190 145
rect 2675 110 2690 115
rect 2625 100 2690 110
rect -10 90 59 100
rect 533 25 634 56
rect 533 -9 565 25
rect 600 -9 634 25
rect 533 -40 634 -9
rect 1176 25 1272 56
rect 1176 -9 1210 25
rect 1245 -9 1272 25
rect 1176 -40 1272 -9
rect 1818 25 1899 56
rect 1818 -9 1840 25
rect 1875 -9 1899 25
rect 1818 -40 1899 -9
rect 1983 25 2068 56
rect 1983 -9 2010 25
rect 2045 -9 2068 25
rect 1983 -40 2068 -9
rect 2703 25 2810 56
rect 2703 -9 2740 25
rect 2776 -9 2810 25
rect 2703 -40 2810 -9
<< via1 >>
rect 195 257 265 270
rect 195 223 212 257
rect 212 223 246 257
rect 246 223 265 257
rect 195 200 265 223
rect 325 257 395 270
rect 325 223 340 257
rect 340 223 374 257
rect 374 223 395 257
rect 325 200 395 223
rect 460 257 530 270
rect 460 223 468 257
rect 468 223 502 257
rect 502 223 530 257
rect 460 200 530 223
rect 840 257 900 260
rect 840 223 852 257
rect 852 223 886 257
rect 886 223 900 257
rect 840 200 900 223
rect 1100 257 1160 260
rect 1100 223 1108 257
rect 1108 223 1142 257
rect 1142 223 1160 257
rect 1100 200 1160 223
rect 1480 257 1540 260
rect 1480 223 1492 257
rect 1492 223 1526 257
rect 1526 223 1540 257
rect 1480 205 1540 223
rect 1735 250 1795 260
rect 1735 215 1750 250
rect 1750 215 1785 250
rect 1785 215 1795 250
rect 1735 205 1795 215
rect 2226 257 2296 278
rect 2226 223 2241 257
rect 2241 223 2275 257
rect 2275 223 2296 257
rect 2226 208 2296 223
rect 2446 257 2506 258
rect 2446 223 2456 257
rect 2456 223 2491 257
rect 2491 223 2506 257
rect 2446 198 2506 223
<< metal2 >>
rect 185 270 275 280
rect 185 200 195 270
rect 265 200 275 270
rect 185 190 275 200
rect 315 270 405 280
rect 315 200 325 270
rect 395 200 405 270
rect 315 190 405 200
rect 450 270 540 280
rect 2216 278 2306 288
rect 450 200 460 270
rect 530 200 540 270
rect 450 190 540 200
rect 830 260 910 270
rect 830 200 840 260
rect 900 200 910 260
rect 830 190 910 200
rect 1090 260 1170 270
rect 1090 200 1100 260
rect 1160 200 1170 260
rect 1090 190 1170 200
rect 1470 260 1550 270
rect 1470 205 1480 260
rect 1540 205 1550 260
rect 1470 195 1550 205
rect 1725 260 1805 270
rect 1725 205 1735 260
rect 1795 205 1805 260
rect 1725 195 1805 205
rect 2216 208 2226 278
rect 2296 208 2306 278
rect 2216 198 2306 208
rect 2435 258 2520 270
rect 2435 198 2446 258
rect 2506 198 2520 258
rect 2435 185 2520 198
use sky130_fd_sc_hd__a21o_1  sky130_fd_sc_hd__a21o_1_0
transform 1 0 -12 0 1 8
box -38 -48 590 592
use sky130_fd_sc_hd__a21o_1  sky130_fd_sc_hd__a21o_1_1
transform 1 0 628 0 1 8
box -38 -48 590 592
use sky130_fd_sc_hd__a21o_1  sky130_fd_sc_hd__a21o_1_2
transform 1 0 1268 0 1 8
box -38 -48 590 592
use sky130_fd_sc_hd__a21o_1  sky130_fd_sc_hd__a21o_1_3
transform 1 0 2804 0 1 8
box -38 -48 590 592
use sky130_fd_sc_hd__and4_1  sky130_fd_sc_hd__and4_1_0
transform 1 0 2064 0 1 8
box -38 -48 682 592
use sky130_fd_sc_hd__tapvpwrvgnd_1  sky130_fd_sc_hd__tapvpwrvgnd_1_0
transform 1 0 1896 0 1 8
box -38 -48 130 592
<< labels >>
flabel metal2 1130 270 1130 270 1 FreeSans 128 0 0 0 P3
port 6 n
flabel metal1 870 270 870 270 1 FreeSans 128 0 0 0 G3
port 7 n
flabel metal1 1510 270 1510 270 1 FreeSans 128 0 0 0 G4
port 9 n
flabel metal2 490 270 490 270 1 FreeSans 128 0 0 0 P2
port 4 n
flabel metal1 350 270 350 270 1 FreeSans 128 0 0 0 G1
port 3 n
flabel viali 230 225 230 225 1 FreeSans 128 0 0 0 G2
port 5 n
flabel metal1 3306 268 3306 268 1 FreeSans 128 0 0 0 CI
port 1 n
flabel metal1 2826 213 2826 213 1 FreeSans 128 0 0 0 CO
port 10 n
flabel via1 1765 245 1765 245 1 FreeSans 320 0 0 0 P4
port 8 n
flabel via1 2465 250 2465 250 1 FreeSans 160 0 0 0 P1
port 2 n
flabel metal1 s 10 575 10 575 1 FreeSans 320 0 0 0 VDD
port 11 n
flabel metal1 s 0 5 0 5 1 FreeSans 320 0 0 0 GND
port 12 n
flabel locali 1935 345 1935 345 1 FreeSans 320 0 0 0 VPB
flabel locali 1940 130 1940 130 1 FreeSans 320 0 0 0 VPB
<< end >>

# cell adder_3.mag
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
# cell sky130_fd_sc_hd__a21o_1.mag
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
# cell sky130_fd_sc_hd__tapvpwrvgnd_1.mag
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
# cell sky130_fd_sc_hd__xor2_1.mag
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
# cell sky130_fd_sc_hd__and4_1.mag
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
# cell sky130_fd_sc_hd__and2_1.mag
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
